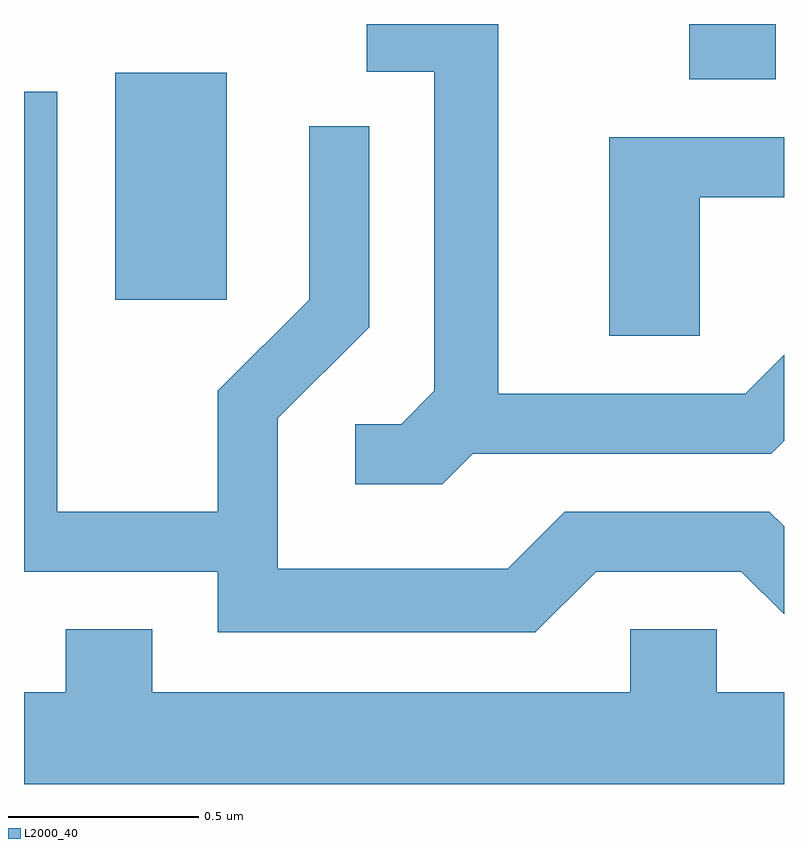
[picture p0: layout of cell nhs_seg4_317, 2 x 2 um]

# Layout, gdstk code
import gdstk
lib = gdstk.Library(unit=1e-6, precision=1e-09)
def R(c, l, rs):  # rectangles x0, y0, x1, y1
    for r in rs: c.add(gdstk.rectangle(r[:2], r[2:], *l))
def P(c, l, *ps):  # polygons
    for p in ps: c.add(gdstk.Polygon(p, *l))
L2000_40 = (2000, 40)

nhs_seg4_317 = lib.new_cell('nhs_seg4_317')
R(nhs_seg4_317, L2000_40, [(187.851,1298.256,188.144,1298.854), (189.361,1298.836,189.589,1298.982)])
P(nhs_seg4_317, L2000_40, [(188.792,1297.851),(189.577,1297.851),(189.611,1297.885),(189.611,1298.112),(189.509,1298.009),(188.859,1298.009),(188.859,1298.982),(188.513,1298.982),(188.513,1298.856),(188.691,1298.856),(188.691,1298.017),(188.604,1297.929),(188.483,1297.929),(188.483,1297.771),(188.712,1297.771)],
  [(189.117,1297.541),(189.499,1297.541),(189.611,1297.429),(189.611,1297.66),(189.572,1297.699),(189.034,1297.699),(188.884,1297.549),(188.279,1297.549),(188.279,1297.944),(188.519,1298.184),(188.519,1298.713),(188.361,1298.713),(188.361,1298.257),(188.121,1298.017),(188.121,1297.699),(187.699,1297.699),(187.699,1298.804),(187.611,1298.804),(187.611,1297.541),(188.121,1297.541),(188.121,1297.381),(188.957,1297.381)],
  [(189.389,1298.526),(189.611,1298.526),(189.611,1298.684),(189.151,1298.684),(189.151,1298.161),(189.389,1298.161)],
  [(189.611,1297.224),(189.434,1297.224),(189.434,1297.389),(189.206,1297.389),(189.206,1297.224),(187.949,1297.224),(187.949,1297.389),(187.721,1297.389),(187.721,1297.224),(187.611,1297.224),(187.611,1296.982),(189.611,1296.982)])

lib.write_gds('nhs_seg4_317.gds')
